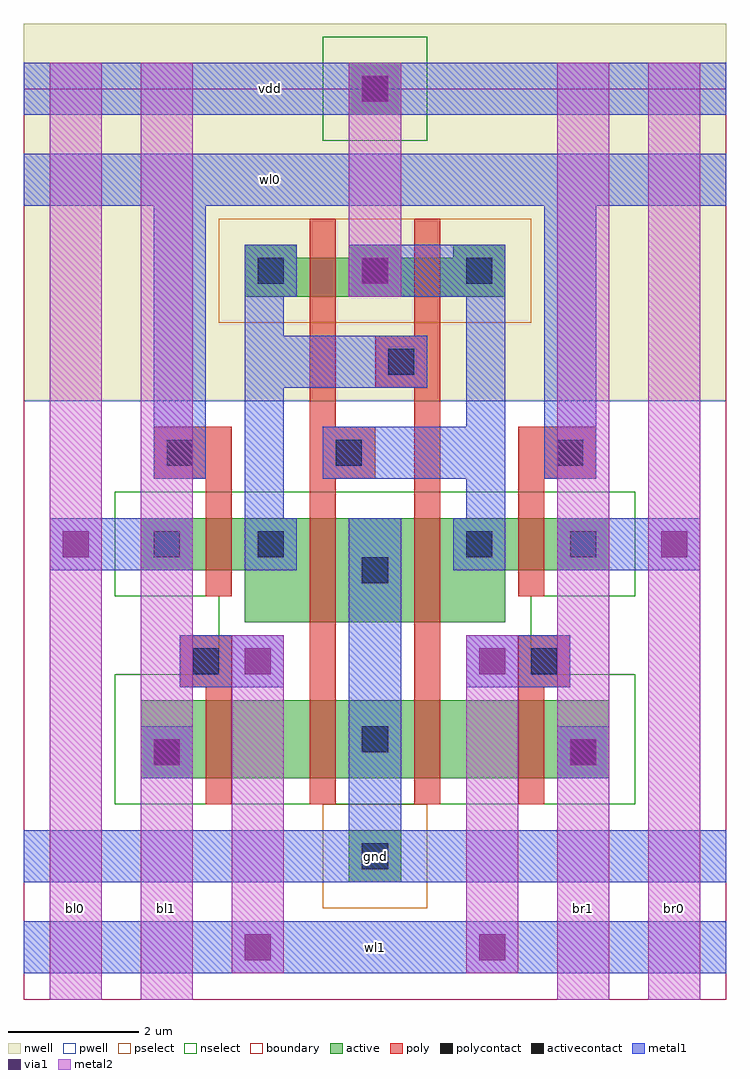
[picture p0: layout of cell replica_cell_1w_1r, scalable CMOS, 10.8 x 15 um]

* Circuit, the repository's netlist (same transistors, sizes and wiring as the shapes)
.SUBCKT replica_cell_1w_1r bl0 br0 bl1 br1 wl0 wl1 vdd gnd
MM9 RA_to_R_right wl1 br1 gnd n w=1.2u l=0.4u
MM8 RA_to_R_right Q gnd gnd n w=1.2u l=0.4u
MM7 RA_to_R_left vdd gnd gnd n w=1.2u l=0.4u
MM6 RA_to_R_left wl1 bl1 gnd n w=1.2u l=0.4u
MM5 Q wl0 bl0 gnd n w=0.8u l=0.4u
MM4 vdd wl0 br0 gnd n w=0.8u l=0.4u
MM1 Q vdd gnd gnd n w=1.6u l=0.4u
MM0 vdd Q gnd gnd n w=1.6u l=0.4u
MM3 Q vdd vdd vdd p w=0.6u l=0.4u
MM2 vdd Q vdd vdd p w=0.6u l=0.4u
.ENDS

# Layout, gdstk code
import gdstk
lib = gdstk.Library(unit=1e-6, precision=1e-09)
def R(c, l, rs):  # rectangles x0, y0, x1, y1
    for r in rs: c.add(gdstk.rectangle(r[:2], r[2:], *l))
def A(c, l, x, y, w, h, nx, ny, dx, dy):  # array of equal rectangles
    R(c, l, [(x+i*dx, y+j*dy, x+i*dx+w, y+j*dy+h) for i in range(nx) for j in range(ny)])
pwell = (41, 0)
nwell = (42, 0)
active = (43, 0)
pselect = (44, 0)
nselect = (45, 0)
poly = (46, 0)
polycontact = (47, 0)
activecontact = (48, 0)
metal1 = (49, 0)
via1 = (50, 0)
metal2 = (51, 0)
boundary = (63, 0)

replica_cell_1w_1r = lib.new_cell('replica_cell_1w_1r')
R(replica_cell_1w_1r, pwell, [(0,0,10.8,9.2)])
R(replica_cell_1w_1r, nwell, [(0,9.2,10.8,15)])
A(replica_cell_1w_1r, active, 3.4, 11.4, 0.8, 0.2, 3, 1, 1.6, 0)
R(replica_cell_1w_1r, active, [(5,1.8,5.8,2.6), (1.8,3.4,9,4.6), (3.4,5.8,7.4,6.6), (1.8,6.6,9,7.4), (3.4,10.8,7.4,11.4), (5,13.6,5.8,14.4)])
R(replica_cell_1w_1r, pselect, [(4.6,1.4,6.2,3), (3,10.4,7.8,12)])
R(replica_cell_1w_1r, nselect, [(1.4,3,9.4,5), (3,5,7.8,6.2), (1.4,6.2,9.4,7.8), (4.6,13.2,6.2,14.8)])
R(replica_cell_1w_1r, poly, [(2.8,3,3.2,4.8), (4.4,3,4.8,8), (6,3,6.4,9.4), (7.6,3,8,4.8), (2.4,4.8,3.2,5.6), (7.6,4.8,8.4,5.6), (2.8,6.2,3.2,8), (7.6,6.2,8,8), (2,8,3.2,8.8), (4.4,8,5.4,8.8), (7.6,8,8.8,8.8), (4.4,8.8,4.8,12), (5.4,9.4,6.4,10.2), (6,10.2,6.4,12)])
R(replica_cell_1w_1r, polycontact, [(2.6,5,3,5.4), (7.8,5,8.2,5.4), (2.2,8.2,2.6,8.6), (4.8,8.2,5.2,8.6), (8.2,8.2,8.6,8.6), (5.6,9.6,6,10)])
A(replica_cell_1w_1r, activecontact, 3.6, 11, 0.4, 0.4, 3, 1, 1.6, 0)
R(replica_cell_1w_1r, activecontact, [(5.2,2,5.6,2.4), (2,3.6,2.4,4), (8.4,3.6,8.8,4), (5.2,3.8,5.6,4.2), (5.2,6.4,5.6,6.8), (2,6.8,2.4,7.2), (3.6,6.8,4,7.2), (6.8,6.8,7.2,7.2), (8.4,6.8,8.8,7.2), (5.2,13.8,5.6,14.2)])
R(replica_cell_1w_1r, metal1, [(0,0.4,10.8,1.2), (0,1.8,10.8,2.6), (5,2.6,5.8,7.4), (1.8,3.4,2.6,4.2), (8.2,3.4,9,4.2), (2.4,4.8,4,5.6), (6.8,4.8,8.4,5.6), (0.4,6.6,2.6,7.4), (3.4,6.6,4.2,7.4), (6.6,6.6,7.4,7.4), (8.2,6.6,10.4,7.4), (3.4,7.4,4,9.4), (6.8,7.4,7.4,8), (2,8,2.8,12.2), (4.6,8,7.4,8.8), (8,8,8.8,12.2), (6.8,8.8,7.4,10.8), (3.4,9.4,6.2,10.2), (3.4,10.2,4,10.8), (3.4,10.8,4.2,11.6), (5,10.8,7.4,11.6), (0,12.2,10.8,13), (0,13.6,10.8,14.4)])
R(replica_cell_1w_1r, via1, [(3.4,0.6,3.8,1), (7,0.6,7.4,1), (2,3.6,2.4,4), (8.4,3.6,8.8,4), (3.4,5,3.8,5.4), (7,5,7.4,5.4), (0.6,6.8,1,7.2), (9.8,6.8,10.2,7.2), (5.2,11,5.6,11.4), (5.2,13.8,5.6,14.2)])
R(replica_cell_1w_1r, metal2, [(0.4,0,1.2,14.4), (1.8,0,2.6,14.4), (8.2,0,9,14.4), (9.6,0,10.4,14.4), (3.2,0.4,4,5.6), (6.8,0.4,7.6,5.6), (5,10.8,5.8,14.4)])
R(replica_cell_1w_1r, boundary, [(0,0,10.8,14)])
replica_cell_1w_1r.add(gdstk.Label('wl0', (3.8,12.6), layer=49, texttype=0))
replica_cell_1w_1r.add(gdstk.Label('vdd', (3.8,14), layer=49, texttype=0))
replica_cell_1w_1r.add(gdstk.Label('wl1', (5.4,0.8), layer=49, texttype=0))
replica_cell_1w_1r.add(gdstk.Label('gnd', (5.4,2.2), layer=49, texttype=0))
replica_cell_1w_1r.add(gdstk.Label('bl0', (0.8,1.4), layer=51, texttype=0))
replica_cell_1w_1r.add(gdstk.Label('bl1', (2.2,1.4), layer=51, texttype=0))
replica_cell_1w_1r.add(gdstk.Label('br1', (8.6,1.4), layer=51, texttype=0))
replica_cell_1w_1r.add(gdstk.Label('br0', (10,1.4), layer=51, texttype=0))

lib.write_gds('replica_cell_1w_1r.gds')
